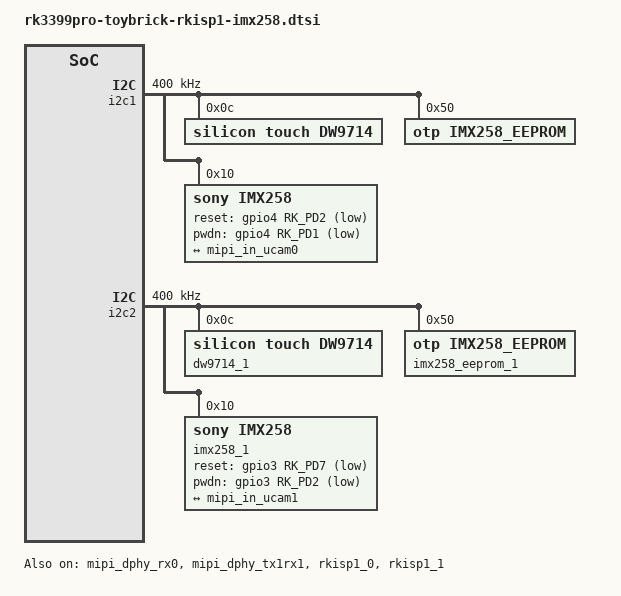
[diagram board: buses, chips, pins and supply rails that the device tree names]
/*
 * Copyright (c) 2018 Fuzhou Rockchip Electronics Co., Ltd
 *
 * This file is dual-licensed: you can use it either under the terms
 * of the GPL or the X11 license, at your option. Note that this dual
 * licensing only applies to this file, and not this project as a
 * whole.
 *
 *  a) This file is free software; you can redistribute it and/or
 *     modify it under the terms of the GNU General Public License as
 *     published by the Free Software Foundation; either version 2 of the
 *     License, or (at your option) any later version.
 *
 *     This file is distributed in the hope that it will be useful,
 *     but WITHOUT ANY WARRANTY; without even the implied warranty of
 *     MERCHANTABILITY or FITNESS FOR A PARTICULAR PURPOSE.  See the
 *     GNU General Public License for more details.
 *
 * Or, alternatively,
 *
 *  b) Permission is hereby granted, free of charge, to any person
 *     obtaining a copy of this software and associated documentation
 *     files (the "Software"), to deal in the Software without
 *     restriction, including without limitation the rights to use,
 *     copy, modify, merge, publish, distribute, sublicense, and/or
 *     sell copies of the Software, and to permit persons to whom the
 *     Software is furnished to do so, subject to the following
 *     conditions:
 *
 *     The above copyright notice and this permission notice shall be
 *     included in all copies or substantial portions of the Software.
 *
 *     THE SOFTWARE IS PROVIDED "AS IS", WITHOUT WARRANTY OF ANY KIND,
 *     EXPRESS OR IMPLIED, INCLUDING BUT NOT LIMITED TO THE WARRANTIES
 *     OF MERCHANTABILITY, FITNESS FOR A PARTICULAR PURPOSE AND
 *     NONINFRINGEMENT. IN NO EVENT SHALL THE AUTHORS OR COPYRIGHT
 *     HOLDERS BE LIABLE FOR ANY CLAIM, DAMAGES OR OTHER LIABILITY,
 *     WHETHER IN AN ACTION OF CONTRACT, TORT OR OTHERWISE, ARISING
 *     FROM, OUT OF OR IN CONNECTION WITH THE SOFTWARE OR THE USE OR
 *     OTHER DEALINGS IN THE SOFTWARE.
 */
&isp0 {
	status = "disabled";
};
	 
&isp1 {
	status = "disabled";
};

&isp0_mmu {
	status = "okay";
};

&isp1_mmu {
	status = "disabled";
};

&i2c1 {
	status = "okay";
	i2c-scl-rising-time-ns = <300>;
	i2c-scl-falling-time-ns = <15>;
	clock-frequency=<400000>;

	dw9714: dw9714@0c {
		compatible = "silicon touch,dw9714";
		status = "okay";
		reg = <0x0c>;
		rockchip,camera-module-index = <0>;
		rockchip,camera-module-facing = "back";
		rockchip,vcm-start-current = <20>;
		rockchip,vcm-rated-current = <120>;
		rockchip,vcm-step-mode = <13>;
	};
	imx258_eeprom: imx258_eeprom@0x50 {
		compatible = "otp,imx258_eeprom";
		status = "okay";
		reg = <0x50>;
	};	
	imx258: imx258@10 {
		compatible = "sony,imx258";
		status = "okay";
		reg = <0x10>;
		clocks = <&cru SCLK_CIF_OUT>;
		clock-names = "xvclk";
		//conflict with csi-ctl-gpios
		reset-gpios = <&gpio4 RK_PD2 GPIO_ACTIVE_LOW>;
		pwdn-gpios = <&gpio4 RK_PD1 GPIO_ACTIVE_LOW>;
		pinctrl-names = "rockchip,camera_default";
		pinctrl-0 = <&cif_clkout>;
		rockchip,camera-module-index = <0>;
		rockchip,camera-module-facing = "back";
		rockchip,camera-module-name = "GEIR180089";
		rockchip,camera-module-lens-name = "LG500627G";
		eeprom-ctrl = <&imx258_eeprom>;
		lens-focus = <&dw9714>;
		//flash-leds = <&sgm3784_led0 &sgm3784_led1>;
		port {
			ucam_out0: endpoint {
				remote-endpoint = <&mipi_in_ucam0>;
				data-lanes = <1 2 3 4>;
			};
		};
	};

};

&i2c2 {
	status = "okay";
	i2c-scl-rising-time-ns = <300>;
	i2c-scl-falling-time-ns = <15>;
	clock-frequency=<400000>;

	dw9714_1: dw9714_1@0c {
		compatible = "silicon touch,dw9714";
		status = "okay";
		reg = <0x0c>;
		rockchip,camera-module-index = <0>;
		rockchip,camera-module-facing = "back";
		rockchip,vcm-start-current = <20>;
		rockchip,vcm-rated-current = <120>;
		rockchip,vcm-step-mode = <13>;
	};
	imx258_eeprom_1: imx258_eeprom@0x50 {
		compatible = "otp,imx258_eeprom";
		status = "okay";
		reg = <0x50>;
	};	
	imx258_1: imx258_1@10 {
		compatible = "sony,imx258";
		status = "okay";
		reg = <0x10>;
		clocks = <&cru SCLK_CIF_OUT>;
		clock-names = "xvclk";
		//conflict with csi-ctl-gpios
		reset-gpios = <&gpio3 RK_PD7 GPIO_ACTIVE_LOW>;
		pwdn-gpios = <&gpio3 RK_PD2 GPIO_ACTIVE_LOW>;
		pinctrl-names = "rockchip,camera_default";
		pinctrl-0 = <&cif_clkout>;
		rockchip,camera-module-index = <0>;
		rockchip,camera-module-facing = "back";
		rockchip,camera-module-name = "GEIR180089";
		rockchip,camera-module-lens-name = "LG500627G";
		eeprom-ctrl = <&imx258_eeprom_1>;
		lens-focus = <&dw9714_1>;
		//flash-leds = <&sgm3784_led0 &sgm3784_led1>;
		port {
			ucam_out1: endpoint {
				remote-endpoint = <&mipi_in_ucam1>;
				data-lanes = <1 2 3 4>;
			};
		};
	};
};


&mipi_dphy_rx0 {
	status = "okay";

	ports {
		#address-cells = <1>;
		#size-cells = <0>;

		port@0 {
			reg = <0>;
			#address-cells = <1>;
			#size-cells = <0>;

			mipi_in_ucam0: endpoint@1 {
				reg = <1>;
				remote-endpoint = <&ucam_out0>;
				data-lanes = <1 2 3 4>;
			};
		};

		port@1 {
			reg = <1>;
			#address-cells = <1>;
			#size-cells = <0>;

			dphy_rx0_out: endpoint@0 {
				reg = <0>;
				remote-endpoint = <&isp0_mipi_in>;
			};
		};
	};
};

&mipi_dphy_tx1rx1 {
	status = "okay";

	ports {
		#address-cells = <1>;
		#size-cells = <0>;

		port@0 {
			reg = <0>;
			#address-cells = <1>;
			#size-cells = <0>;

			mipi_in_ucam1: endpoint@1 {
				reg = <1>;
				remote-endpoint = <&ucam_out1>;
				data-lanes = <1 2 3 4>;
			};
		};

		port@1 {
			reg = <1>;
			#address-cells = <1>;
			#size-cells = <0>;

			dphy_tx1rx1_out: endpoint@0 {
				reg = <0>;
				remote-endpoint = <&isp1_mipi_in>;
			};
		};
	};
};


&rkisp1_0 {
	status = "okay";

	port {
		#address-cells = <1>;
		#size-cells = <0>;

		isp0_mipi_in: endpoint@0 {
			reg = <0>;
			remote-endpoint = <&dphy_rx0_out>;
		};
	};
};

&rkisp1_1 {
	status = "okay";

	port {
		#address-cells = <1>;
		#size-cells = <0>;

		isp1_mipi_in: endpoint@0 {
			reg = <0>;
			remote-endpoint = <&dphy_tx1rx1_out>;
		};
	};
};

